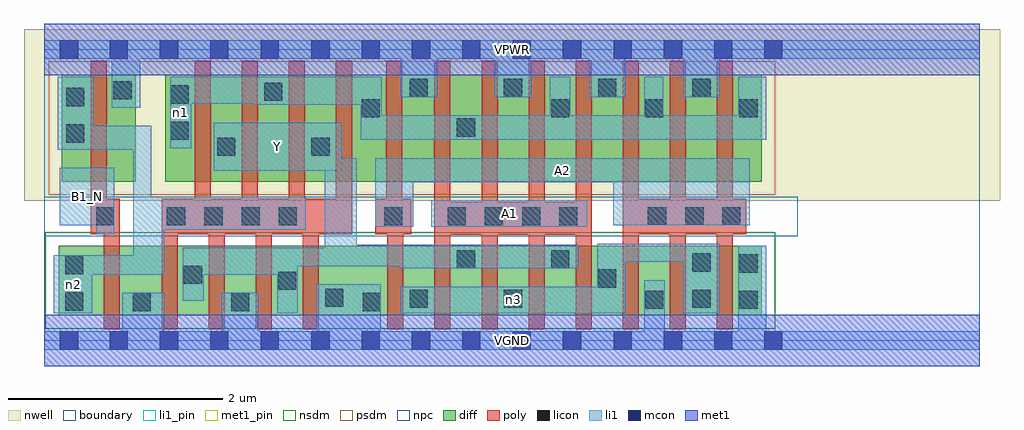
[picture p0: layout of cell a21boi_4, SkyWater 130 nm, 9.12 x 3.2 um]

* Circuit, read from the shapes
.subckt a21boi_4 A1 A2 B1_N VGND VPWR Y n1 n2 n3
XM1 VGND B1_N n2 VSUBS sky130_fd_pr__nfet_01v8 w=0.65 l=0.15
XM2 Y n2 VGND VSUBS sky130_fd_pr__nfet_01v8 w=0.65 l=0.15 m=4
XM3 n3 A2 VGND VSUBS sky130_fd_pr__nfet_01v8 w=0.65 l=0.15 m=4
XM4 Y A1 n3 VSUBS sky130_fd_pr__nfet_01v8 w=0.65 l=0.15 m=4
XM5 VPWR B1_N n2 n4 sky130_fd_pr__pfet_01v8 w=1 l=0.15
XM6 Y n2 n1 n4 sky130_fd_pr__pfet_01v8 w=1 l=0.15 m=4
XM7 VPWR A2 n1 n4 sky130_fd_pr__pfet_01v8 w=1 l=0.15 m=4
XM8 n1 A1 VPWR n4 sky130_fd_pr__pfet_01v8 w=1 l=0.15 m=4
.ends

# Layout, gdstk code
import gdstk
lib = gdstk.Library(unit=1e-6, precision=1e-09)
def R(c, l, rs):  # rectangles x0, y0, x1, y1
    for r in rs: c.add(gdstk.rectangle(r[:2], r[2:], *l))
def A(c, l, x, y, w, h, nx, ny, dx, dy):  # array of equal rectangles
    R(c, l, [(x+i*dx, y+j*dy, x+i*dx+w, y+j*dy+h) for i in range(nx) for j in range(ny)])
nwell = (64, 20)
diff = (65, 20)
poly = (66, 20)
licon = (66, 44)
li1_pin = (67, 16)
li1 = (67, 20)
mcon = (67, 44)
met1_pin = (68, 16)
met1 = (68, 20)
nsdm = (93, 44)
psdm = (94, 20)
npc = (95, 20)
boundary = (235, 4)

a21boi_4 = lib.new_cell('a21boi_4')
R(a21boi_4, nwell, [(-0.19,1.305,8.93,2.91), (0,1.305,8.74,2.91)])
R(a21boi_4, diff, [(0.135,0.235,6.705,0.885), (0.165,1.485,0.855,2.485), (1.13,1.485,6.705,2.485)])
A(a21boi_4, poly, 1.095, 0.105, 0.15, 1.22, 4, 1, 0.44, 0)
A(a21boi_4, poly, 3.645, 0.105, 0.15, 2.51, 7, 1, 0.44, 0)
A(a21boi_4, poly, 1.405, 0.995, 0.15, 1.62, 4, 1, 0.44, 0)
R(a21boi_4, poly, [(0.555,0.105,0.705,1.325), (3.205,0.105,3.355,1.325), (3.645,0.99,5.115,1.295), (0.435,0.995,0.585,2.615), (1.095,0.995,2.875,1.325), (3.09,0.995,3.43,1.325), (3.195,0.995,3.345,2.615), (5.405,0.995,6.56,1.325)])
A(a21boi_4, licon, 1.145, 1.075, 0.17, 0.17, 3, 1, 0.35, 0)
A(a21boi_4, licon, 4.735, 2.085, 0.17, 0.17, 3, 1, 0.88, 0)
A(a21boi_4, licon, 3.415, 2.275, 0.17, 0.17, 4, 1, 0.88, 0)
R(a21boi_4, licon, [(0.825,0.275,0.995,0.445), (1.745,0.275,1.915,0.445), (2.975,0.275,3.145,0.445), (0.195,0.28,0.365,0.45), (5.615,0.295,5.785,0.465), (6.495,0.295,6.665,0.465), (3.415,0.305,3.585,0.475), (4.295,0.305,4.465,0.475), (6.055,0.305,6.225,0.475), (2.625,0.315,2.795,0.485), (2.185,0.475,2.355,0.645), (5.175,0.495,5.345,0.665), (1.305,0.53,1.475,0.7), (0.195,0.62,0.365,0.79), (6.495,0.635,6.665,0.805), (6.055,0.645,6.225,0.815), (3.855,0.675,4.025,0.845), (4.735,0.675,4.905,0.845), (0.485,1.075,0.655,1.245), (2.19,1.075,2.36,1.245), (3.175,1.075,3.345,1.245), (3.77,1.075,3.94,1.245), (4.115,1.075,4.285,1.245), (4.465,1.075,4.635,1.245), (4.81,1.075,4.98,1.245), (5.64,1.075,5.81,1.245), (5.99,1.075,6.16,1.245), (6.335,1.075,6.505,1.245), (1.615,1.725,1.785,1.895), (2.495,1.725,2.665,1.895), (0.205,1.85,0.375,2.02), (1.18,1.875,1.35,2.045), (3.855,1.905,4.025,2.075), (2.965,2.085,3.135,2.255), (0.205,2.19,0.375,2.36), (1.18,2.215,1.35,2.385), (2.055,2.24,2.225,2.41), (0.645,2.255,0.815,2.425)])
R(a21boi_4, li1_pin, [(3.615,1.065,5.075,1.31), (0.145,1.075,0.655,1.615), (3.09,1.48,6.59,1.705), (1.585,1.585,2.78,2.035)])
A(a21boi_4, li1, 3.33, 2.275, 0.34, 0.53, 4, 1, 0.88, 0)
R(a21boi_4, li1, [(0,-0.085,8.74,0.085), (0.73,-0.085,1.12,0.445), (1.66,-0.085,2,0.445), (2.54,-0.085,3.145,0.525), (5.605,-0.085,5.795,0.565), (6.485,-0.085,6.745,0.885), (0.09,0.255,0.45,0.795), (2.175,0.255,2.37,0.865), (3.33,0.255,5.43,0.505), (5.165,0.255,5.43,0.905), (5.97,0.255,6.31,0.905), (1.295,0.37,1.49,0.865), (0.09,0.615,1.12,0.795), (0.83,0.615,1,2.005), (0.83,0.615,1.12,1.345), (1.295,0.615,2.37,0.865), (3.32,0.675,4.99,0.895), (1.295,0.695,4.99,0.865), (2.62,0.695,4.99,0.895), (5.165,0.735,6.31,0.905), (2.62,0.895,2.92,1.705), (0.485,0.995,0.655,1.615), (0.83,1.035,2.445,1.345), (3.09,1.065,3.445,1.705), (3.615,1.065,5.075,1.31), (0.145,1.075,0.655,1.615), (5.315,1.075,6.59,1.705), (3.09,1.48,6.59,1.705), (1.585,1.585,2.78,2.035), (0.125,1.785,0.46,2.465), (0.125,1.785,1,2.005), (1.175,1.795,1.375,2.465), (2.955,1.875,6.745,2.105), (2.955,1.875,3.155,2.465), (4.725,1.875,4.915,2.465), (5.605,1.875,5.785,2.465), (6.485,1.875,6.745,2.465), (0.63,2.175,0.895,2.805), (1.97,2.205,3.155,2.465), (1.175,2.215,3.155,2.465), (0,2.635,8.74,2.805)])
A(a21boi_4, mcon, 0.61, -0.085, 0.17, 0.17, 4, 2, 0.47, 2.72)
A(a21boi_4, mcon, 2.495, -0.085, 0.17, 0.17, 6, 2, 0.47, 2.72)
A(a21boi_4, mcon, 5.32, -0.085, 0.17, 0.17, 3, 2, 0.47, 2.72)
R(a21boi_4, mcon, [(0.145,-0.085,0.315,0.085), (6.725,-0.085,6.895,0.085), (0.145,2.635,0.315,2.805), (6.725,2.635,6.895,2.805)])
R(a21boi_4, met1_pin, [(0,-0.24,8.74,0.24), (0,2.48,8.74,2.96)])
R(a21boi_4, met1, [(0,-0.24,8.74,0.24), (0,2.48,8.74,2.96)])
R(a21boi_4, nsdm, [(0.01,0.11,6.83,1.01)])
R(a21boi_4, psdm, [(0.04,1.36,6.83,2.61)])
R(a21boi_4, npc, [(0,0.975,7.04,1.345)])
R(a21boi_4, boundary, [(0,0,8.74,2.72)])
a21boi_4.add(gdstk.Label('A1', (4.345,1.187), layer=67, texttype=5))
a21boi_4.add(gdstk.Label('A2', (4.84,1.592), layer=67, texttype=5))
a21boi_4.add(gdstk.Label('B1_N', (0.4,1.345), layer=67, texttype=5))
a21boi_4.add(gdstk.Label('Y', (2.182,1.81), layer=67, texttype=5))
a21boi_4.add(gdstk.Label('n3', (4.38,0.38), layer=67, texttype=5))
a21boi_4.add(gdstk.Label('n2', (0.27,0.525), layer=67, texttype=5))
a21boi_4.add(gdstk.Label('n1', (1.275,2.13), layer=67, texttype=5))
a21boi_4.add(gdstk.Label('VPWR', (4.37,2.72), layer=68, texttype=5))
a21boi_4.add(gdstk.Label('VGND', (4.37,0), layer=68, texttype=5))
a21boi_4.add(gdstk.Label('A1', (4.345,1.187), layer=67, texttype=16))
a21boi_4.add(gdstk.Label('A2', (4.84,1.592), layer=67, texttype=16))
a21boi_4.add(gdstk.Label('B1_N', (0.4,1.345), layer=67, texttype=16))
a21boi_4.add(gdstk.Label('Y', (2.182,1.81), layer=67, texttype=16))
a21boi_4.add(gdstk.Label('VPWR', (4.37,2.72), layer=68, texttype=16))
a21boi_4.add(gdstk.Label('VGND', (4.37,0), layer=68, texttype=16))

lib.write_gds('a21boi_4.gds')
